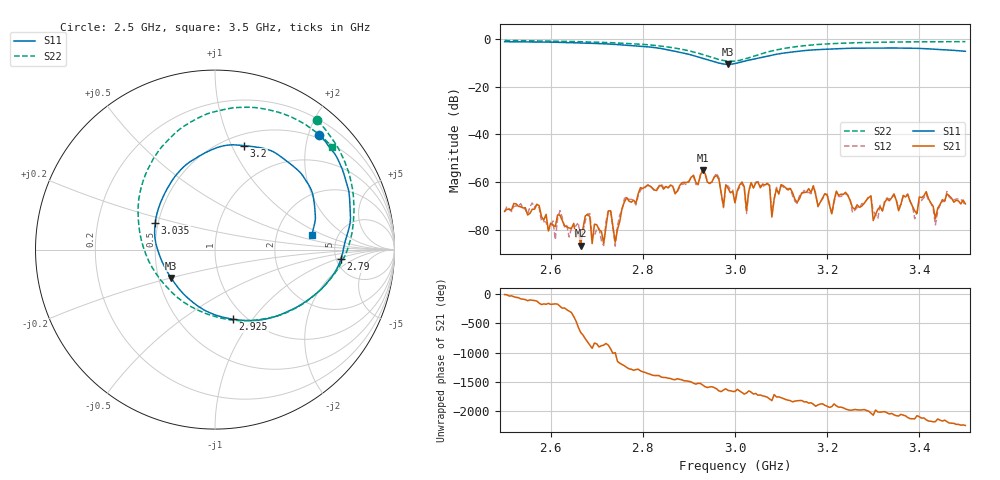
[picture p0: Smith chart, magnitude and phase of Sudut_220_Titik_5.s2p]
# Hz S RI R 50
! CMT, C1220, 16058040, 17.2.0/1
! Date: 15/08/2018 10:26:06
! Data: Format (Calibration Info)
! Freq  S11: Re/Im (F2)  S21: Re/Im (F2)  S12: Re/Im (F2)  S22: Re/Im (F2)
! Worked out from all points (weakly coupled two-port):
!   201 points, 2.5 GHz to 3.5 GHz, reference 50 ohm
!   highest |S21| = -54.98 dB at 2.93 GHz (marker M1); lowest = -86.4 dB at 2.665 GHz (marker M2)
!   lowest |S11| = -10.7 dB at 2.985 GHz (marker M3), VSWR 1.82, Z = 29.1 - j10.1 ohm
!   |S11| at or under -10 dB: 2.962 GHz to 3.008 GHz (46.7 MHz wide, 1.56 % of centre)
!   |S22| runs from -9.4 to -0.7 dB; largest |S21 - S12| = 0.00017
!   S11 on the Smith chart (normalised r, x): 2.5 GHz: 0.43, +2.19; 2.79 GHz: 5.50, -1.15; 2.925 GHz: 0.87, -0.81; 3.035 GHz: 0.48, +0.17; 3.2 GHz: 0.61, +1.11; 3.5 GHz: 3.21, +0.76
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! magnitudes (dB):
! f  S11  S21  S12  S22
! 2.5 GHz  -1.3  -72.1  -72.2  -0.7
! 2.665 GHz  -1.8  -86.4  -84.0  -1.3
! 2.67 GHz  -1.8  -79.4  -80.7  -1.3
! 2.745 GHz  -2.5  -79.7  -78.0  -1.8
! 2.79 GHz  -3.1  -64.7  -65.4  -2.2
! 2.835 GHz  -4.0  -61.7  -61.4  -3.0
! 2.925 GHz  -7.9  -56.9  -57.1  -6.3
! 2.93 GHz  -8.2  -55.0  -55.0  -6.6
! 2.96 GHz  -9.9  -57.1  -56.1  -8.4
! 2.975 GHz  -10.6  -70.1  -70.5  -9.1
! 2.985 GHz  -10.7  -62.4  -61.4  -9.3
! 3 GHz  -10.4  -68.5  -68.4  -9.4
! 3.015 GHz  -9.6  -59.8  -60.4  -8.8
! 3.025 GHz  -9.2  -71.7  -73.0  -8.3
! 3.035 GHz  -8.8  -60.1  -60.1  -7.7
! 3.075 GHz  -7.1  -61.4  -61.1  -5.3
! 3.08 GHz  -6.9  -74.4  -73.3  -5.1
! 3.1 GHz  -6.2  -60.9  -61.4  -4.3
! 3.17 GHz  -4.7  -61.5  -61.4  -2.6
! 3.2 GHz  -4.4  -65.3  -64.9  -2.2
! 3.335 GHz  -3.9  -67.7  -67.0  -1.4
! 3.5 GHz  -5.3  -69.0  -69.7  -1.2
